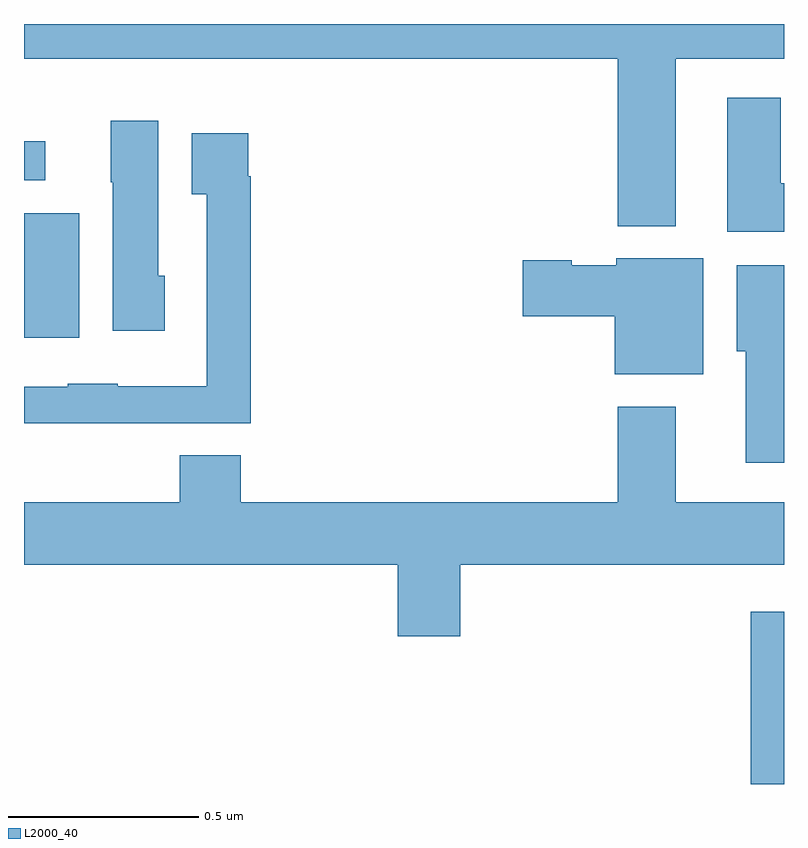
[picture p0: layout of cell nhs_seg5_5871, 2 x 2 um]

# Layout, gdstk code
import gdstk
lib = gdstk.Library(unit=1e-6, precision=1e-09)
def R(c, l, rs):  # rectangles x0, y0, x1, y1
    for r in rs: c.add(gdstk.rectangle(r[:2], r[2:], *l))
def P(c, l, *ps):  # polygons
    for p in ps: c.add(gdstk.Polygon(p, *l))
L2000_40 = (2000, 40)

nhs_seg5_5871 = lib.new_cell('nhs_seg5_5871')
R(nhs_seg5_5871, L2000_40, [(189.912,906.799,190,907.252), (188,907.974,188.146,908.301), (188,908.388,188.056,908.491)])
P(nhs_seg5_5871, L2000_40, [(189.715,908.708),(190,908.708),(190,908.799),(188,908.799),(188,908.708),(189.563,908.708),(189.563,908.267),(189.715,908.267)],
  [(190,908.38),(189.991,908.38),(189.991,908.605),(189.851,908.605),(189.851,908.252),(190,908.252)],
  [(188.371,908.136),(188.353,908.136),(188.353,908.545),(188.228,908.545),(188.228,908.382),(188.234,908.382),(188.234,907.992),(188.371,907.992)],
  [(188.347,907.749),(188.597,907.749),(188.597,908.399),(188.59,908.399),(188.59,908.512),(188.441,908.512),(188.441,908.351),(188.481,908.351),(188.481,907.846),(188.247,907.846),(188.247,907.852),(188.115,907.852),(188.115,907.845),(188,907.845),(188,907.749),(188.115,907.749),(188.115,907.748),(188.347,907.748)],
  [(189.787,908.182),(189.558,908.182),(189.558,908.164),(189.441,908.164),(189.441,908.177),(189.312,908.177),(189.312,908.03),(189.554,908.03),(189.554,907.877),(189.787,907.877)],
  [(190,908.164),(189.875,908.164),(189.875,907.938),(189.899,907.938),(189.899,907.644),(190,907.644)],
  [(189.148,907.376),(190,907.376),(190,907.54),(189.715,907.54),(189.715,907.792),(189.563,907.792),(189.563,907.54),(188.57,907.54),(188.57,907.664),(188.41,907.664),(188.41,907.54),(188,907.54),(188,907.376),(188.984,907.376),(188.984,907.188),(189.148,907.188)])

lib.write_gds('nhs_seg5_5871.gds')
